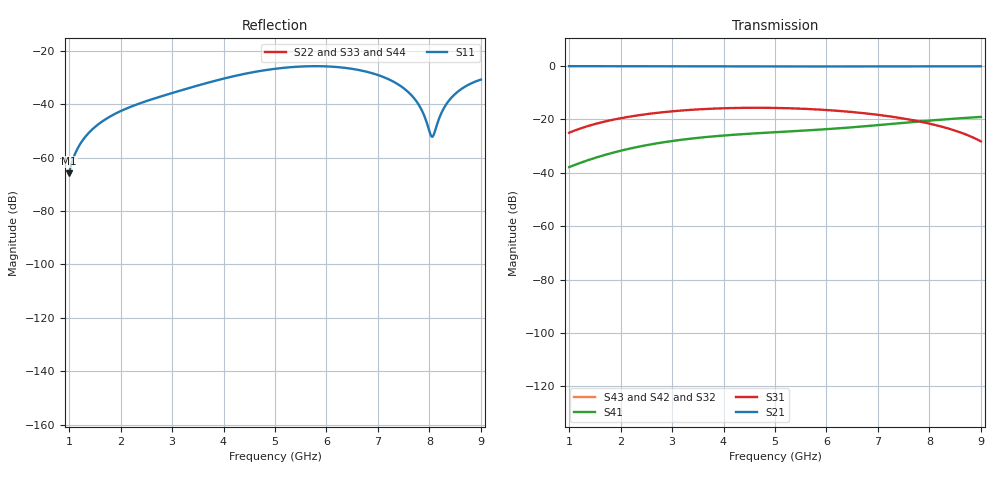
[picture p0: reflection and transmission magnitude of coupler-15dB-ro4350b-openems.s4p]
! openEMS result for 15 dB coupled-line coupler on JLC RO4350B 0.508 mm, from physical dimensions (5 GHz)
# Hz S RI R 50
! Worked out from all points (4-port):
!   401 points, 1 GHz to 9 GHz, reference 50 ohm
!   strongest paths, dB at 1 GHz, 3 GHz, 5 GHz, 7 GHz, 9 GHz:
!     S21: -0.1, -0.2, -0.2, -0.2, -0.1
!     S31: -25.0, -17.0, -15.7, -18.3, -28.3
!     S41: -37.9, -28.1, -24.8, -22.2, -19.1
!     S43: -, -, -, -, -
!     S42: -, -, -, -, -
!     S32: -, -, -, -, -
!   lowest |S11| = -65.8 dB at 1 GHz (marker M1), VSWR 1.00, Z = 50 + j0.0355 ohm
!   |S11| at or under -10 dB: start of sweep to end of sweep
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1e9  -0.000366 0.000355  0 0  0 0  0 0
     0.6154 -0.7742  0 0  0 0  0 0
     0.0449 0.0335  0 0  0 0  0 0
     -0.00922 -0.00881  0 0  0 0  0 0
1.64e9  0.00154 0.00446  0 0  0 0  0 0
        0.0966 -0.9818  0 0  0 0  0 0
        0.088 0.007  0 0  0 0  0 0
        -0.0205 -0.00336  0 0  0 0  0 0
3.32e9  0.00706 -0.0186  0 0  0 0  0 0
        -0.9653 -0.1611  0 0  0 0  0 0
        0.0212 -0.148  0 0  0 0  0 0
        -0.00334 0.0428  0 0  0 0  0 0
5.3e9  -0.0429 0.0241  0 0  0 0  0 0
       0.0342 0.975  0 0  0 0  0 0
       -0.1603 0.0125  0 0  0 0  0 0
       0.0586 -0.0105  0 0  0 0  0 0
7.22e9  0.0205 0.0204  0 0  0 0  0 0
        0.9621 -0.1908  0 0  0 0  0 0
        0.0279 0.1102  0 0  0 0  0 0
        -0.0171 -0.0794  0 0  0 0  0 0
8.06e9  -2.6e-05 0.00245  0 0  0 0  0 0
        0.5635 -0.8055  0 0  0 0  0 0
        0.0682 0.043  0 0  0 0  0 0
        -0.0782 -0.055  0 0  0 0  0 0
9e9  -0.0147 0.0249  0 0  0 0  0 0
     -0.2427 -0.9532  0 0  0 0  0 0
     0.0371 -0.0107  0 0  0 0  0 0
     -0.1071 0.0284  0 0  0 0  0 0
